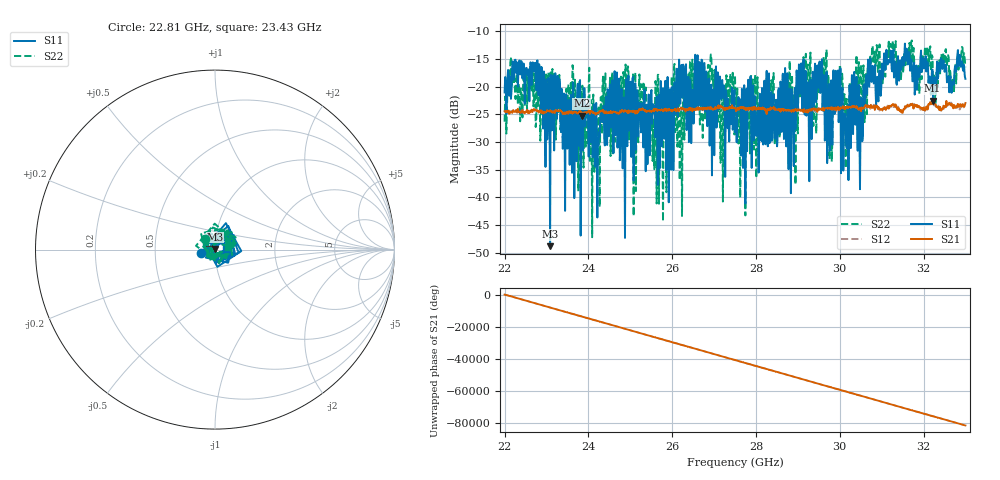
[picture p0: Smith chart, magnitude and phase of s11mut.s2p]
!Keysight Technologies,N5224B,MY57181201,A.12.70.07
!Date: Friday, July 15, 2022 16:06:06
!Correction: S11(Full 2 Port(1,2))
!S21(Full 2 Port(1,2))
!S12(Full 2 Port(1,2))
!S22(Full 2 Port(1,2))
!S2P File: Measurements: S11, S21, S12, S22:
# Hz S  dB  R 50
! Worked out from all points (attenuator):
!   801 points, 22 GHz to 33 GHz, reference 50 ohm
!   highest |S21| = -22.55 dB at 32.22 GHz (marker M1); lowest = -25.2 dB at 23.84 GHz (marker M2)
!   lowest |S11| = -48.8 dB at 23.09 GHz (marker M3), VSWR 1.01, Z = 50.1 + j0.354 ohm
!   |S11| at or under -10 dB: start of sweep to end of sweep
!   |S22| runs from -47.2 to -11.7 dB; largest |S21 - S12| = 0.0067
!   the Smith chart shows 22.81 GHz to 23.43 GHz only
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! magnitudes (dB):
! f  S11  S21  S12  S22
! 22 GHz  -21.1  -24.5  -24.5  -26.3
! 22.18 GHz  -16.9  -24.7  -24.6  -17.3
! 22.73 GHz  -15.7  -24.3  -24.2  -19.1
! 23.09 GHz  -48.8  -24.3  -24.5  -18.2
! 23.84 GHz  -22.9  -25.2  -25.2  -21.0
! 24.64 GHz  -28.8  -24.6  -24.6  -29.9
! 24.9 GHz  -18.6  -24.4  -24.5  -18.9
! 25.02 GHz  -32.7  -24.4  -24.4  -33.0
! 25.67 GHz  -26.3  -24.2  -24.3  -17.9
! 26.66 GHz  -15.7  -24.0  -23.9  -26.9
! 27.5 GHz  -28.3  -23.9  -24.0  -17.9
! 27.62 GHz  -22.5  -23.8  -23.7  -40.1
! 29.34 GHz  -21.4  -24.0  -24.3  -20.9
! 29.63 GHz  -19.8  -24.0  -24.2  -15.1
! 29.81 GHz  -24.3  -24.2  -24.1  -33.6
! 30.02 GHz  -16.7  -23.7  -23.7  -16.7
! 30.15 GHz  -30.0  -23.8  -23.8  -25.4
! 30.48 GHz  -38.5  -23.9  -23.7  -22.5
! 30.68 GHz  -15.1  -23.4  -23.6  -15.5
! 31.17 GHz  -15.2  -24.0  -23.6  -11.9
! 32.22 GHz  -17.0  -22.6  -23.4  -14.6
! 33 GHz  -18.6  -23.0  -23.0  -16.5
